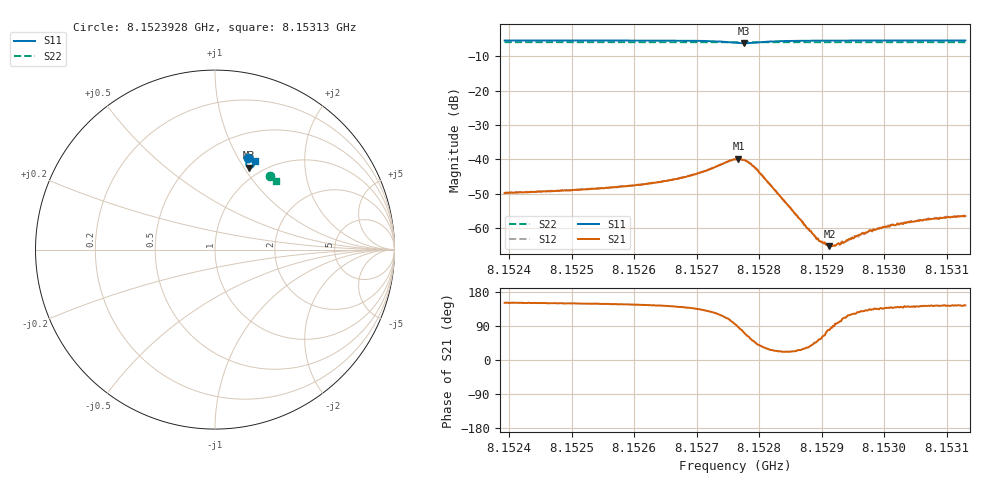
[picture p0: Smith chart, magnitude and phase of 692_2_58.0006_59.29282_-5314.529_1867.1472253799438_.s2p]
#  HZ  S  RI  R  50.00
! Rohde & Schwarz Vector Network Analyzer
! Rohde-Schwarz,ZNB20-2Port,1311601062101988,3.16
! Created: UTC 3/21/2024, 1:21:18 AM
! freq[Hz]  re:S11  im:S11  re:S21  im:S21  re:S12  im:S12  re:S22  im:S22
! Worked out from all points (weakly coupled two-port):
!   401 points, 8.1523928 GHz to 8.15313 GHz, reference 50 ohm
!   highest |S21| = -39.82 dB at 8.152767 GHz (marker M1); lowest = -65.2 dB at 8.1529126 GHz (marker M2)
!   lowest |S11| = -6.1 dB at 8.1527762 GHz (marker M3), VSWR 2.95, Z = 43.5 + j52.5 ohm
!   |S11| at or under -10 dB: nowhere
!   |S22| runs from -5.9 to -5.8 dB; largest |S21 - S12| = 0.00043
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8.15239283e9  0.1831 0.5085  -0.00282 0.00156  -0.00286 0.00164  0.3056 0.4099
8.15251631e9  0.1931 0.5047  -0.00311 0.00189  -0.00313 0.00195  0.3119 0.405
8.15259372e9  0.2003 0.5014  -0.00346 0.00228  -0.00342 0.00234  0.3159 0.4018
8.1526398e9  0.2053 0.4983  -0.00377 0.00275  -0.00374 0.0028  0.3181 0.3998
8.15269508e9  0.2131 0.4909  -0.00433 0.00415  -0.00432 0.00427  0.3208 0.3972
8.15276143e9  0.2059 0.4572  -0.000804 0.00998  -0.00052 0.0101  0.3232 0.3937
8.15276696e9  0.1993 0.4549  0.000662 0.0102  0.000858 0.0102  0.3231 0.3933
8.15277618e9  0.1872 0.4564  0.00303 0.00935  0.00332 0.00924  0.3232 0.3933
8.15278355e9  0.1791 0.462  0.00427 0.00785  0.00468 0.00774  0.3233 0.3934
8.15279461e9  0.1738 0.4737  0.00528 0.00525  0.00525 0.00503  0.3239 0.3934
8.15282778e9  0.1824 0.4943  0.00304 0.00137  0.00312 0.00133  0.3261 0.3927
8.15287201e9  0.1949 0.499  0.000964 0.000556  0.001 0.000537  0.3286 0.3908
8.15288491e9  0.1974 0.4992  0.000642 0.00054  0.000668 0.000533  0.3292 0.3902
8.15289597e9  0.1993 0.4991  0.000378 0.000526  0.00043 0.000547  0.3298 0.3897
8.15291256e9  0.2018 0.4991  0.000104 0.000538  8.37e-05 0.000548  0.3307 0.3892
8.15292546e9  0.2036 0.4988  -8.31e-05 0.000584  -8.35e-05 0.00057  0.3312 0.3886
8.15294942e9  0.2064 0.4983  -0.000379 0.000625  -0.000378 0.000625  0.3325 0.3876
8.15297522e9  0.2093 0.4976  -0.000609 0.000665  -0.000584 0.000665  0.3338 0.3864
8.15298812e9  0.2107 0.4973  -0.000679 0.000687  -0.00067 0.000741  0.3344 0.3858
8.1530084e9  0.2127 0.4968  -0.000769 0.000712  -0.000829 0.000719  0.3354 0.3849
8.15306737e9  0.2178 0.4951  -0.00105 0.000804  -0.00104 0.000804  0.3381 0.3824
8.15313003e9  0.2227 0.4934  -0.00121 0.000872  -0.00121 0.000953  0.3411 0.3797
